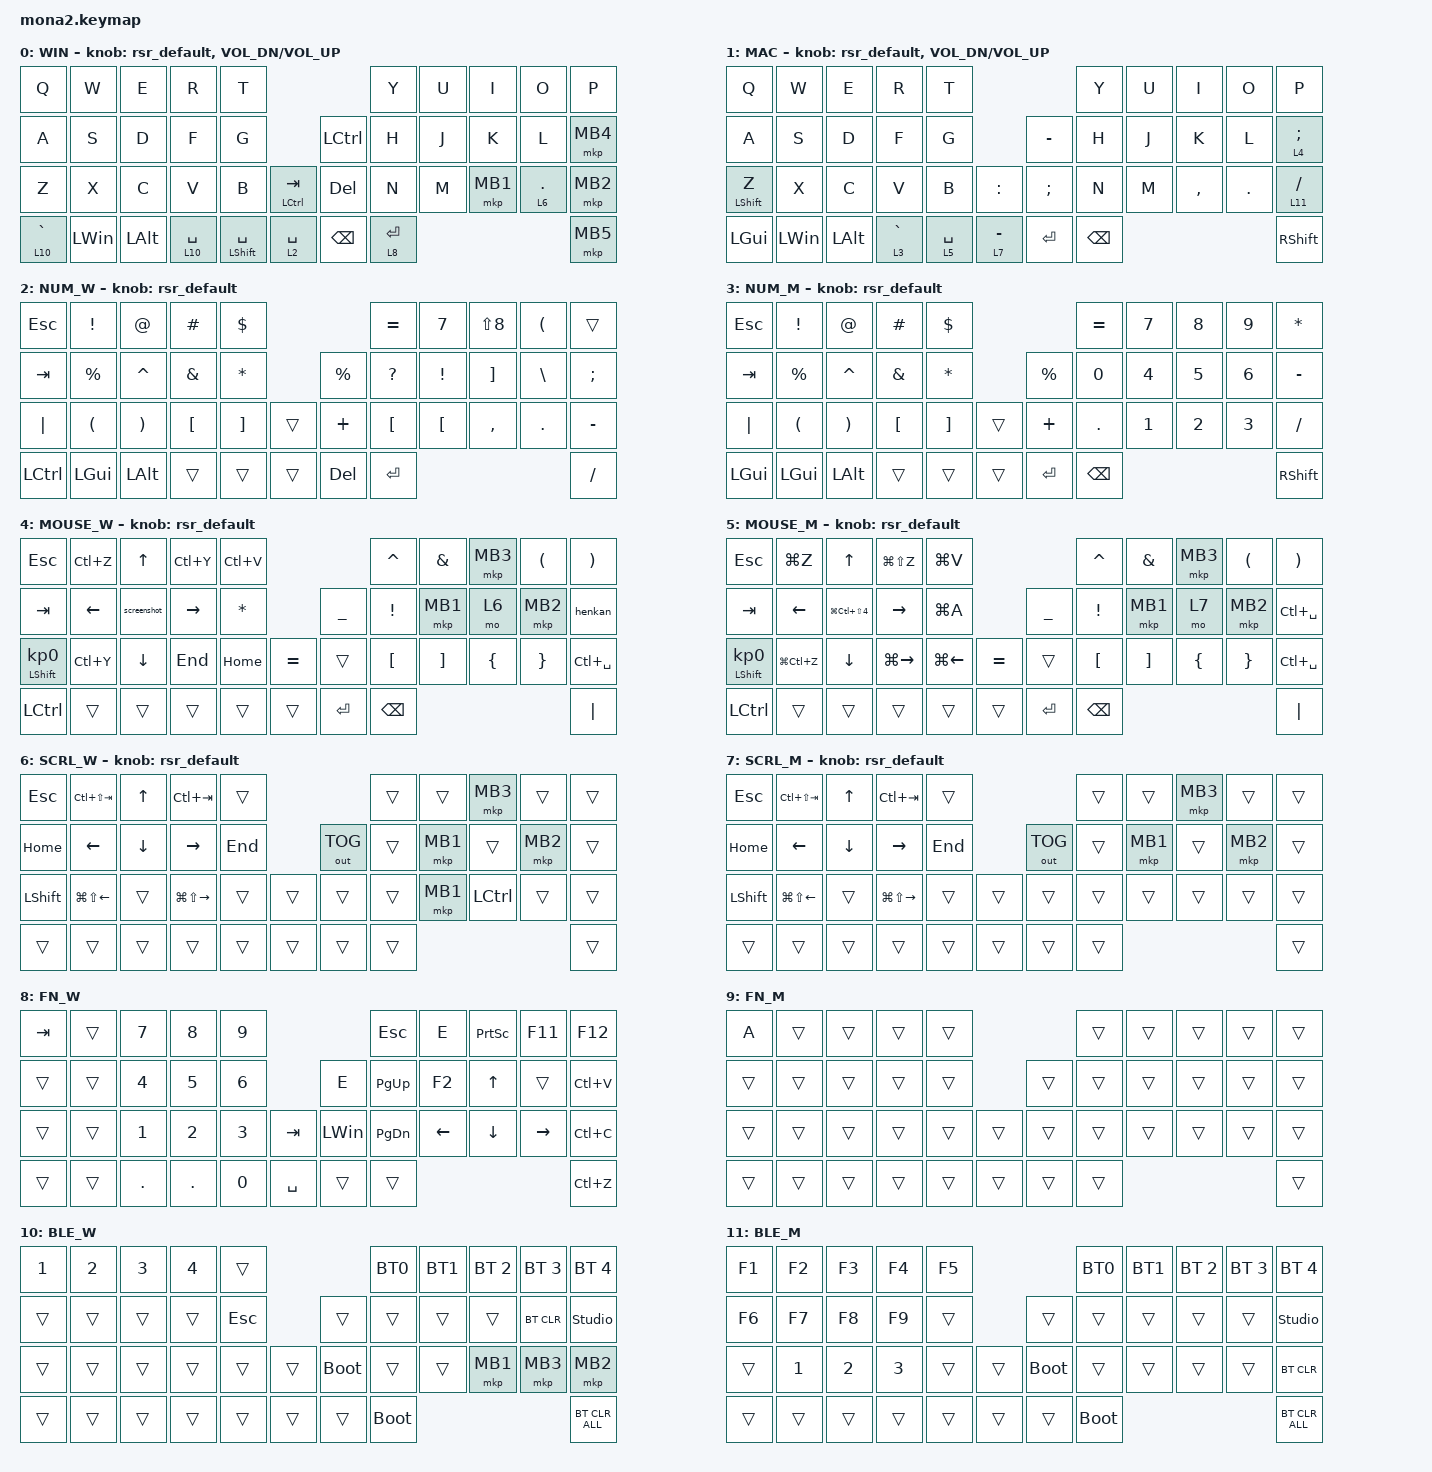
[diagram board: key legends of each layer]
#include <input/processors.dtsi>
#include <dt-bindings/zmk/input_transform.h>
#include <zephyr/dt-bindings/input/input-event-codes.h>
#include <behaviors/runtime-sensor-rotate.dtsi>
#include <behaviors.dtsi>
#include <dt-bindings/zmk/bt.h>
#include <dt-bindings/zmk/keys.h>
#include <dt-bindings/zmk/outputs.h>
#include <dt-bindings/zmk/pointing.h>

/* ZMK 側で 10 が定義済みなので警告回避のため一旦 undef */

#undef ZMK_POINTING_DEFAULT_SCRL_VAL

#define ZMK_POINTING_DEFAULT_SCRL_VAL 100

&mt {
    flavor = "balanced";
    quick-tap-ms = <0>;
};

&lt {
    quick-tap-ms = <200>;
    flavor = "balanced";
};

&msc {
    delay-ms = <0>;
    time-to-max-speed-ms = <0>;
    acceleration-exponent = <0>;
};

/ {
    combos {
        compatible = "zmk,combos";

        layer4_ESC {
            bindings = <&lt 4 ESC>;
            key-positions = <39 38>;
        };

        tab {
            bindings = <&kp TAB>;
            key-positions = <11 12>;
        };
    };

    macros {
        to_layer_0: to_layer_0 {
            compatible = "zmk,behavior-macro-one-param";
            #binding-cells = <1>;
            bindings = <&to 0 &macro_param_1to1 &kp MACRO_PLACEHOLDER>;
            label = "TO_LAYER_0";
        };

        BT0: BT0 {
            compatible = "zmk,behavior-macro";
            #binding-cells = <0>;
            bindings =
                <&tog_off 0 &tog_off 1>,
                <&macro_wait_time 200>,
                <&bt BT_SEL 0>,
                <&macro_wait_time 500>,
                <&tog_on 0>;

            label = "BT0";
        };

        BT1: BT1 {
            compatible = "zmk,behavior-macro";
            #binding-cells = <0>;
            bindings =
                <&tog_off 0 &tog_off 1>,
                <&macro_wait_time 200>,
                <&bt BT_SEL 1>,
                <&macro_wait_time 500>,
                <&tog_on 1>;

            label = "BT1";
        };

        screenshot: screenshot {
            compatible = "zmk,behavior-macro";
            #binding-cells = <0>;
            bindings =
                <&macro_press>,
                <&kp LEFT_GUI &kp RSHIFT>,
                <&macro_wait_time 20>,
                <&macro_tap>,
                <&kp S>,
                <&macro_release>,
                <&kp LEFT_GUI &kp RSHIFT>;

            label = "SCREENSHOT";
        };

        henkan: henkan {
            compatible = "zmk,behavior-macro";
            #binding-cells = <0>;
            bindings =
                <&macro_press>,
                <&kp LEFT_ALT>,
                <&macro_wait_time 20>,
                <&macro_tap>,
                <&kp GRAVE>,
                <&macro_release>,
                <&kp LEFT_ALT>;

            label = "HENKAN";
        };
    };

    behaviors {
        lt_to_layer_0: lt_to_layer_0 {
            compatible = "zmk,behavior-hold-tap";
            label = "LAYER_TAP_TO_0";
            bindings = <&mo>, <&to_layer_0>;

            #binding-cells = <2>;
            tapping-term-ms = <200>;
        };

        tp_repeat_mo1: tp_repeat_mo1 {
            compatible = "zmk,behavior-hold-tap";
            label = "TP_REPEAT_MO1";
            bindings = <&mo>, <&key_repeat>;

            #binding-cells = <2>;
            tapping-term-ms = <200>;
        };

        // エンコーダ用 runtime-configurable sensor rotate
        // デフォルトはスクロール (cw=SCRL_DOWN, ccw=SCRL_UP)
        // DYA Studio Web UI から レイヤーごとに cw/ccw の binding を
        // kp C_VOL_UP/DN や kp LEFT/RIGHT などへ動的変更可能

        rsr_default: rsr_default {
            compatible = "zmk,behavior-runtime-sensor-rotate";
            #sensor-binding-cells = <0>;
            tap-ms = <16>;
            cw-binding = <&msc SCRL_DOWN>;
            ccw-binding = <&msc SCRL_UP>;
        };

        tog_on: toggle_layer_on_only {
            compatible = "zmk,behavior-toggle-layer";
            #binding-cells = <1>;
            display-name = "Toggle Layer On";
            toggle-mode = "on";
        };

        tog_off: toggle_layer_off_only {
            compatible = "zmk,behavior-toggle-layer";
            #binding-cells = <1>;
            display-name = "Toggle Layer Off";
            toggle-mode = "off";
        };

        zfold: zfold {
            compatible = "zmk,behavior-hold-tap";
            label = "ZFOLD";
            bindings = <&kp>, <&kp>;

            #binding-cells = <2>;
            tapping-term-ms = <300>;
            flavor = "hold-preferred";
            quick-tap-ms = <150>;
            hold-while-undecided;
        };

        zfoldZ: zfoldZ {
            compatible = "zmk,behavior-tap-dance";
            label = "ZFOLDZ";
            #binding-cells = <0>;
            bindings = <&zfold LEFT_SHIFT Z>, <&kp LS(Z)>;
        };
    };

    keymap {
        compatible = "zmk,keymap";

        win_layer {
            display-name = "WIN";
            bindings = <
&kp Q         &kp W         &kp E         &kp R         &kp T                                                           &kp Y        &kp U  &kp I     &kp O         &kp P
&kp A         &kp S         &kp D         &kp F         &kp G                                         &kp LEFT_CONTROL  &kp H        &kp J  &kp K     &kp L         &mkp MB4
&kp Z         &kp X         &kp C         &kp V         &kp B                 &mt LEFT_CONTROL TAB    &kp DEL           &kp N        &kp M  &mkp MB1  &lt 6 PERIOD  &mkp MB2
&lt 10 GRAVE  &kp LEFT_WIN  &kp LEFT_ALT  &lt 10 SPACE  &mt LEFT_SHIFT SPACE  &lt 2 SPACE             &kp BACKSPACE     &lt 8 ENTER                                 &mkp MB5
            >;

            sensor-bindings = <&rsr_default>, <&inc_dec_kp C_VOL_DN C_VOL_UP>;
        };

        mac_layer {
            display-name = "MAC";
            bindings = <
&kp Q             &kp W         &kp E         &kp R        &kp T                                      &kp Y          &kp U  &kp I      &kp O    &kp P
&kp A             &kp S         &kp D         &kp F        &kp G                       &kp MINUS      &kp H          &kp J  &kp K      &kp L    &lt 4 SEMICOLON
&mt LEFT_SHIFT Z  &kp X         &kp C         &kp V        &kp B        &kp COLON      &kp SEMICOLON  &kp N          &kp M  &kp COMMA  &kp DOT  &lt 11 SLASH
&kp LEFT_GUI      &kp LEFT_WIN  &kp LEFT_ALT  &lt 3 GRAVE  &lt 5 SPACE  &lt 7 MINUS    &kp ENTER      &kp BACKSPACE                             &kp RIGHT_SHIFT
            >;

            sensor-bindings = <&rsr_default>, <&inc_dec_kp C_VOL_DN C_VOL_UP>;
        };

        num_win {
            display-name = "NUM_W";
            bindings = <
&kp ESCAPE  &kp EXCLAMATION       &kp AT_SIGN            &kp HASH          &kp DOLLAR                                &kp EQUAL         &kp NUMBER_7      &kp LS(NUMBER_8)   &kp LEFT_PARENTHESIS  &trans
&kp TAB     &kp PERCENT           &kp CARET              &kp AMPERSAND     &kp ASTERISK                 &kp PERCENT  &kp QUESTION      &kp EXCLAMATION   &kp RIGHT_BRACKET  &kp BACKSLASH         &kp SEMICOLON
&kp PIPE    &kp LEFT_PARENTHESIS  &kp RIGHT_PARENTHESIS  &kp LEFT_BRACKET  &kp RIGHT_BRACKET  &trans    &kp PLUS     &kp LEFT_BRACKET  &kp LEFT_BRACKET  &kp COMMA          &kp PERIOD            &kp MINUS
&kp LCTRL   &kp LEFT_GUI          &kp LEFT_ALT           &trans            &trans             &trans    &kp DELETE   &kp ENTER                                                                    &kp SLASH
            >;

            sensor-bindings = <&rsr_default>;
        };

        num_mac {
            display-name = "NUM_M";
            bindings = <
&kp ESCAPE    &kp EXCLAMATION       &kp AT_SIGN            &kp HASH          &kp DOLLAR                                &kp EQUAL      &kp NUMBER_7  &kp NUMBER_8  &kp NUMBER_9  &kp ASTERISK
&kp TAB       &kp PERCENT           &kp CARET              &kp AMPERSAND     &kp ASTERISK                 &kp PERCENT  &kp NUMBER_0   &kp NUMBER_4  &kp NUMBER_5  &kp NUMBER_6  &kp MINUS
&kp PIPE      &kp LEFT_PARENTHESIS  &kp RIGHT_PARENTHESIS  &kp LEFT_BRACKET  &kp RIGHT_BRACKET  &trans    &kp PLUS     &kp DOT        &kp NUMBER_1  &kp NUMBER_2  &kp NUMBER_3  &kp SLASH
&kp LEFT_GUI  &kp LEFT_GUI          &kp LEFT_ALT           &trans            &trans             &trans    &kp ENTER    &kp BACKSPACE                                            &kp RIGHT_SHIFT
            >;

            sensor-bindings = <&rsr_default>;
        };

        mouse_win {
            display-name = "MOUSE_W";
            bindings = <
&kp ESCAPE                  &kp LC(Z)       &kp UP_ARROW    &kp LC(Y)        &kp LC(V)                                  &kp CARET         &kp AMPERSAND      &mkp MB3        &kp LEFT_PARENTHESIS  &kp RIGHT_PARENTHESIS
&kp TAB                     &kp LEFT_ARROW  &screenshot     &kp RIGHT_ARROW  &kp ASTERISK               &kp UNDERSCORE  &kp EXCLAMATION   &mkp MB1           &mo 6           &mkp MB2              &henkan
&mt LEFT_SHIFT KP_NUMBER_0  &kp LC(Y)       &kp DOWN_ARROW  &kp END          &kp HOME      &kp EQUAL    &trans          &kp LEFT_BRACKET  &kp RIGHT_BRACKET  &kp LEFT_BRACE  &kp RIGHT_BRACE       &kp LC(SPACE)
&kp LCTRL                   &trans          &trans          &trans           &trans        &trans       &kp ENTER       &kp BACKSPACE                                                              &kp PIPE
            >;

            sensor-bindings = <&rsr_default>;
        };

        mouse_mac {
            display-name = "MOUSE_M";
            bindings = <
&kp ESCAPE                  &kp LG(Z)       &kp UP_ARROW              &kp LG(LS(Z))    &kp LG(V)                                  &kp CARET         &kp AMPERSAND      &mkp MB3        &kp LEFT_PARENTHESIS  &kp RIGHT_PARENTHESIS
&kp TAB                     &kp LEFT_ARROW  &kp LG(LC(LS(NUMBER_4)))  &kp RIGHT_ARROW  &kp LG(A)                  &kp UNDERSCORE  &kp EXCLAMATION   &mkp MB1           &mo 7           &mkp MB2              &kp LC(SPACE)
&mt LEFT_SHIFT KP_NUMBER_0  &kp LG(LC(Z))   &kp DOWN_ARROW            &kp LG(RIGHT)    &kp LG(LEFT)  &kp EQUAL    &trans          &kp LEFT_BRACKET  &kp RIGHT_BRACKET  &kp LEFT_BRACE  &kp RIGHT_BRACE       &kp LC(SPACE)
&kp LCTRL                   &trans          &trans                    &trans           &trans        &trans       &kp ENTER       &kp BACKSPACE                                                              &kp PIPE
            >;

            sensor-bindings = <&rsr_default>;
        };

        scroll_win {
            display-name = "SCRL_W";
            bindings = <
&kp ESCAPE      &kp LC(LS(TAB))         &kp UP_ARROW    &kp LC(TAB)              &trans                           &trans  &trans    &mkp MB3          &trans    &trans
&kp HOME        &kp LEFT_ARROW          &kp DOWN_ARROW  &kp RIGHT_ARROW          &kp END            &out OUT_TOG  &trans  &mkp MB1  &trans            &mkp MB2  &trans
&kp LEFT_SHIFT  &kp LG(LS(LEFT_ARROW))  &trans          &kp LG(LS(RIGHT_ARROW))  &trans   &trans    &trans        &trans  &mkp MB1  &kp LEFT_CONTROL  &trans    &trans
&trans          &trans                  &trans          &trans                   &trans   &trans    &trans        &trans                                        &trans
            >;

            sensor-bindings = <&rsr_default>;
        };

        scroll_mac {
            display-name = "SCRL_M";
            bindings = <
&kp ESCAPE      &kp LC(LS(TAB))         &kp UP_ARROW    &kp LC(TAB)              &trans                           &trans  &trans    &mkp MB3  &trans    &trans
&kp HOME        &kp LEFT_ARROW          &kp DOWN_ARROW  &kp RIGHT_ARROW          &kp END            &out OUT_TOG  &trans  &mkp MB1  &trans    &mkp MB2  &trans
&kp LEFT_SHIFT  &kp LG(LS(LEFT_ARROW))  &trans          &kp LG(LS(RIGHT_ARROW))  &trans   &trans    &trans        &trans  &trans    &trans    &trans    &trans
&trans          &trans                  &trans          &trans                   &trans   &trans    &trans        &trans                                &trans
            >;

            sensor-bindings = <&rsr_default>;
        };

        function_win {
            display-name = "FN_W";
            bindings = <
&kp TAB  &trans  &kp N7        &kp N8        &kp N9                                   &kp ESCAPE     &kp E           &kp PSCRN       &kp F11          &kp F12
&trans   &trans  &kp NUMBER_4  &kp N5        &kp NUMBER_6               &kp E         &kp PAGE_UP    &kp F2          &kp UP_ARROW    &trans           &kp LC(V)
&trans   &trans  &kp NUMBER_1  &kp NUMBER_2  &kp NUMBER_3  &kp TAB      &kp LEFT_WIN  &kp PAGE_DOWN  &kp LEFT_ARROW  &kp DOWN_ARROW  &kp RIGHT_ARROW  &kp LC(C)
&trans   &trans  &kp PERIOD    &kp PERIOD    &kp N0        &kp SPACE    &trans        &trans                                                          &kp LC(Z)
            >;
        };

        function_mac {
            display-name = "FN_M";
            bindings = <
&kp A   &trans  &trans  &trans  &trans                    &trans  &trans  &trans  &trans  &trans
&trans  &trans  &trans  &trans  &trans            &trans  &trans  &trans  &trans  &trans  &trans
&trans  &trans  &trans  &trans  &trans  &trans    &trans  &trans  &trans  &trans  &trans  &trans
&trans  &trans  &trans  &trans  &trans  &trans    &trans  &trans                          &trans
            >;
        };

        ble_win {
            display-name = "BLE_W";
            bindings = <
&kp NUMBER_1  &kp NUMBER_2  &kp NUMBER_3  &kp NUMBER_4  &trans                             &BT0         &BT1    &bt BT_SEL 2  &bt BT_SEL 3  &bt BT_SEL 4
&trans        &trans        &trans        &trans        &kp ESCAPE            &trans       &trans       &trans  &trans        &bt BT_CLR    &studio_unlock
&trans        &trans        &trans        &trans        &trans      &trans    &bootloader  &trans       &trans  &mkp MB1      &mkp MB3      &mkp MB2
&trans        &trans        &trans        &trans        &trans      &trans    &trans       &bootloader                                      &bt BT_CLR_ALL
            >;
        };

        ble_mac {
            display-name = "BLE_M";
            bindings = <
&kp F1  &kp F2        &kp F3        &kp F4        &kp F5                         &BT0         &BT1    &bt BT_SEL 2  &bt BT_SEL 3  &bt BT_SEL 4
&kp F6  &kp F7        &kp F8        &kp F9        &trans            &trans       &trans       &trans  &trans        &trans        &studio_unlock
&trans  &kp NUMBER_1  &kp NUMBER_2  &kp NUMBER_3  &trans  &trans    &bootloader  &trans       &trans  &trans        &trans        &bt BT_CLR
&trans  &trans        &trans        &trans        &trans  &trans    &trans       &bootloader                                      &bt BT_CLR_ALL
            >;
        };
    };
};
